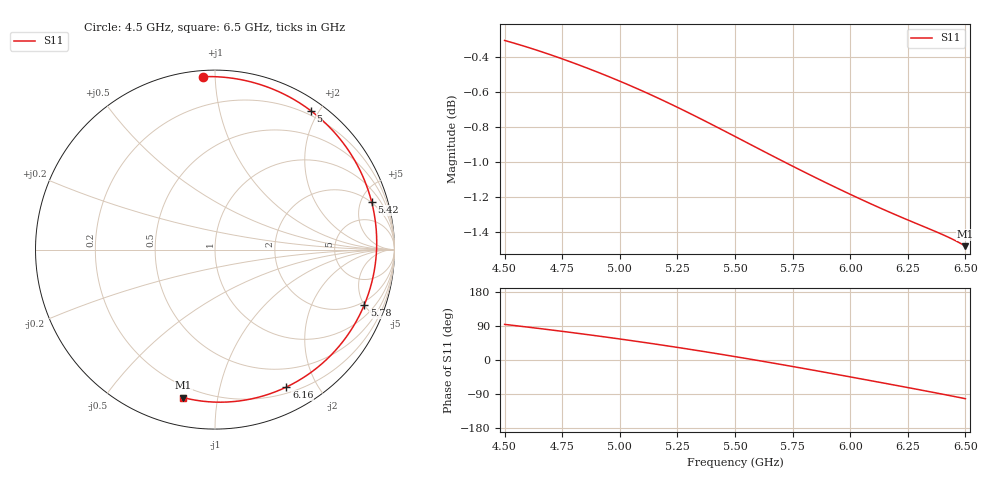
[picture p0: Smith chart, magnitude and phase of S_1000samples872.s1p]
! TOUCHSTONE file generated by CST MICROWAVE STUDIO
! Date and time: Sat Oct 29 16:02:53 2022
! Project name: L.cst
! Parameters = {Di=1.27; Epsilon_r=1.56; InnerDiameter=1.27; Length=2; Lf=10; Lg=60; OuterConductorThickness=0.2921; OuterDiameter=3.6; Wf=3; Wp=41.2; de=1.5; df=6.8; g=0.8; gx=4.23042; gy=3.65433; h=2.34; hf=1.524; px=9.01206; py=12.8138; w=9.7; wx=4.78164; wy=9.15945}
! Header version: 2018
! Port assignment regex: !\s*Touchstone port\s*([0-9]+)\s*=\s*(CST MWS port|CST DS port)\s*([0-9]+|Zmin|Zmax)\s*\(\"(.*)\"\)(\s*mode\s*([0-9]+))?.*
! Touchstone port assignment:
! Touchstone port 1 = CST MWS port 1 ("")
# GHz S DB R 50
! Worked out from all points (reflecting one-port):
!   101 points, 4.5 GHz to 6.5 GHz, reference 50 ohm
!   lowest |S11| = -1.5 dB at 6.5 GHz (marker M1), VSWR 11.75, Z = 7 - j39.9 ohm
!   phase of S11 starts at 94 deg and turns -196 deg over the sweep
!   S11 on the Smith chart (normalised r, x): 4.5 GHz: 0.03, +0.93; 5 GHz: 0.14, +1.89; 5.42 GHz: 1.94, +6.12; 5.78 GHz: 1.72, -4.98; 6.16 GHz: 0.27, -1.61; 6.5 GHz: 0.14, -0.80
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4.5  -0.30 94.0
4.58  -0.33 88.3
4.64  -0.36 83.9
4.76  -0.41 74.9
4.88  -0.47 65.4
5  -0.54 55.5
5.12  -0.61 45.1
5.18  -0.64 39.7
5.26  -0.69 32.3
5.34  -0.74 24.7
5.42  -0.80 16.9
5.5  -0.85 8.9
5.58  -0.91 0.8
5.64  -0.95 -5.5
5.7  -0.99 -11.8
5.76  -1.03 -18.2
5.78  -1.04 -20.4
5.88  -1.11 -31.3
5.94  -1.15 -37.9
6  -1.18 -44.6
6.08  -1.23 -53.5
6.16  -1.28 -62.5
6.22  -1.31 -69.3
6.26  -1.34 -73.9
6.32  -1.37 -80.8
6.38  -1.40 -87.8
6.44  -1.44 -94.9
6.5  -1.48 -102.1
